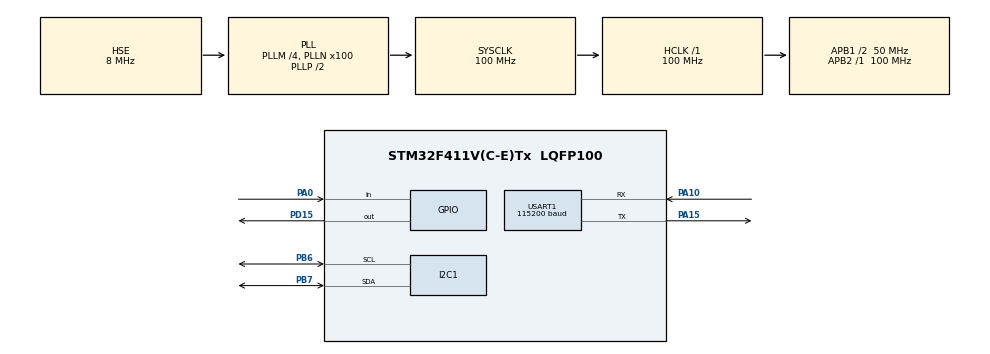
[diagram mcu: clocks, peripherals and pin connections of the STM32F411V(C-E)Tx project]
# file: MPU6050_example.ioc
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I2C1.I2C_Mode=I2C_Fast
Mcu.Family=STM32F4
Mcu.Name=STM32F411V(C-E)Tx
Mcu.Package=LQFP100
NVIC.PriorityGroup=NVIC_PRIORITYGROUP_4
NVIC.TIM1_TRG_COM_TIM11_IRQn=true\:0\:0\:false\:false\:true\:true\:true\:true
PA0-WKUP.Signal=GPIO_Input
PA10.Mode=Asynchronous
PA10.Signal=USART1_RX
PA15.Mode=Asynchronous
PA15.Signal=USART1_TX
PB6.GPIO_Pu=GPIO_PULLUP
PB6.Mode=I2C
PB6.Signal=I2C1_SCL
PB7.GPIO_Pu=GPIO_PULLUP
PB7.Mode=I2C
PB7.Signal=I2C1_SDA
PD15.Signal=GPIO_Output
PH0\ -\ OSC_IN.Mode=HSE-External-Oscillator
PH0\ -\ OSC_IN.Signal=RCC_OSC_IN
PH1\ -\ OSC_OUT.Mode=HSE-External-Oscillator
PH1\ -\ OSC_OUT.Signal=RCC_OSC_OUT
ProjectManager.HeapSize=0x200
ProjectManager.StackSize=0x400
ProjectManager.TargetToolchain=STM32CubeIDE
RCC.48MHZClocksFreq_Value=50000000
RCC.AHBFreq_Value=100000000
RCC.APB1CLKDivider=RCC_HCLK_DIV2
RCC.APB1Freq_Value=50000000
RCC.APB1TimFreq_Value=100000000
RCC.APB2Freq_Value=100000000
RCC.APB2TimFreq_Value=100000000
RCC.CortexFreq_Value=100000000
RCC.EnbaleCSS=true
RCC.HCLKFreq_Value=100000000
RCC.HSE_VALUE=8000000
RCC.HSI_VALUE=16000000
RCC.LSE_VALUE=32768
RCC.PLLM=4
RCC.PLLN=100
RCC.PLLSourceVirtual=RCC_PLLSOURCE_HSE
RCC.SYSCLKFreq_VALUE=100000000
RCC.SYSCLKSource=RCC_SYSCLKSOURCE_PLLCLK
RCC.VCOOutputFreq_Value=200000000
TIM11.Period=999
TIM11.Prescaler=99
USART1.BaudRate=115200
USART1.VirtualMode=VM_ASYNC
VP_TIM11_VS_ClockSourceINT.Mode=Enable_Timer
board=custom

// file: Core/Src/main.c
/* USER CODE BEGIN Header */
/**
  ******************************************************************************
  * @file           : main.c
  * @brief          : Main program body
  ******************************************************************************
  * @attention
  *
  * Copyright (c) 2022 STMicroelectronics.
  * All rights reserved.
  *
  * This software is licensed under terms that can be found in the LICENSE file
  * in the root directory of this software component.
  * If no LICENSE file comes with this software, it is provided AS-IS.
  *
  ******************************************************************************
  */
/* USER CODE END Header */
#include "main.h"
#include "i2c.h"
#include "tim.h"
#include "usart.h"
#include "gpio.h"

/* USER CODE BEGIN Includes */
#include "MPU6050.h"
#include "IOI2C.h"
/* USER CODE END Includes */

/* USER CODE BEGIN PV */
int seconds = 0;
long cnt11;
int check;

float pr, rr, yr;
float pitch;
float roll;
float yaw;

/* USER CODE END PV */

void SystemClock_Config(void);

int main(void)
{

  /* MCU Configuration--------------------------------------------------------*/

  /* Reset of all peripherals, Initializes the Flash interface and the Systick. */
  HAL_Init();

  /* Configure the system clock */
  SystemClock_Config();

  /* Initialize all configured peripherals */
  MX_GPIO_Init();
  MX_I2C1_Init();
  MX_USART1_UART_Init();
  MX_TIM11_Init();

  /* Infinite loop */
  /* USER CODE BEGIN WHILE */
  HAL_Delay(1000);
  if(I2C1->SR2&2)
  {
	  I2C1->CR1 |= (1<<15);
	  I2C1->CR1 &= ~(1<<15);
//	  while(!HAL_GPIO_ReadPin(GPIOB, GPIO_PIN_7));
//	  I2C1->CR1 &= ~(1<<15);
  }

  IIC_Init(hi2c1);
  printf("\n\rMPU6050 is initializing....\n\r");
  MPU6050_initialize();
  printf("\n\rMPU6050 has been initialized....\n\r");
  MPU6050_DMPInit();
  MPU6050_setYawCorrectorRate(-0.00415); // put the drifting rate of Yaw to be corrected
//  HAL_I2C_
  HAL_TIM_Base_Start_IT(&htim11);
  long last_tick = HAL_GetTick();
  while (1)
  {
    /* USER CODE END WHILE */

    /* USER CODE BEGIN 3 */
	  MPU6050_readDMPAll(&pitch, &roll, &yaw);
	  HAL_GPIO_TogglePin(GPIOD, GPIO_PIN_15);
	  if(HAL_GetTick()- last_tick > 1000)
	  {
		  last_tick = HAL_GetTick();
		  printf("pitch: %.2f roll: %.2f yaw: %.2f \n\r", pitch, roll, yaw);
	  }
  }
  /* USER CODE END 3 */
}

void SystemClock_Config(void)
{
  RCC_OscInitTypeDef RCC_OscInitStruct = {0};
  RCC_ClkInitTypeDef RCC_ClkInitStruct = {0};

  /** Configure the main internal regulator output voltage
  */
  __HAL_RCC_PWR_CLK_ENABLE();
  __HAL_PWR_VOLTAGESCALING_CONFIG(PWR_REGULATOR_VOLTAGE_SCALE1);

  /** Initializes the RCC Oscillators according to the specified parameters
  * in the RCC_OscInitTypeDef structure.
  */
  RCC_OscInitStruct.OscillatorType = RCC_OSCILLATORTYPE_HSE;
  RCC_OscInitStruct.HSEState = RCC_HSE_ON;
  RCC_OscInitStruct.PLL.PLLState = RCC_PLL_ON;
  RCC_OscInitStruct.PLL.PLLSource = RCC_PLLSOURCE_HSE;
  RCC_OscInitStruct.PLL.PLLM = 4;
  RCC_OscInitStruct.PLL.PLLN = 100;
  RCC_OscInitStruct.PLL.PLLP = RCC_PLLP_DIV2;
  RCC_OscInitStruct.PLL.PLLQ = 4;
  if (HAL_RCC_OscConfig(&RCC_OscInitStruct) != HAL_OK)
  {
    Error_Handler();
  }

  /** Initializes the CPU, AHB and APB buses clocks
  */
  RCC_ClkInitStruct.ClockType = RCC_CLOCKTYPE_HCLK|RCC_CLOCKTYPE_SYSCLK
                              |RCC_CLOCKTYPE_PCLK1|RCC_CLOCKTYPE_PCLK2;
  RCC_ClkInitStruct.SYSCLKSource = RCC_SYSCLKSOURCE_PLLCLK;
  RCC_ClkInitStruct.AHBCLKDivider = RCC_SYSCLK_DIV1;
  RCC_ClkInitStruct.APB1CLKDivider = RCC_HCLK_DIV2;
  RCC_ClkInitStruct.APB2CLKDivider = RCC_HCLK_DIV1;

  if (HAL_RCC_ClockConfig(&RCC_ClkInitStruct, FLASH_LATENCY_3) != HAL_OK)
  {
    Error_Handler();
  }

  /** Enables the Clock Security System
  */
  HAL_RCC_EnableCSS();
}

/* USER CODE BEGIN 4 */
int _write(int file, char *ptr, int len)
{
	HAL_UART_Transmit(&huart1, (uint8_t*) ptr, len, HAL_MAX_DELAY);
	return len;
}

void HAL_TIM_PeriodElapsedCallback(TIM_HandleTypeDef *htim)
{
	if(htim == &htim11)
	{
		cnt11++;

		if(cnt11%1000 == 0)
		{
//			MPU6050_getDriftingRate(&pr, &rr, &yr);		// it uses to check drifting rate
			MPU6050_updateAngleCorrector();
		}
	}
}
/* USER CODE END 4 */

void Error_Handler(void)
{
  __disable_irq();
  while (1)
  {
  }
}
